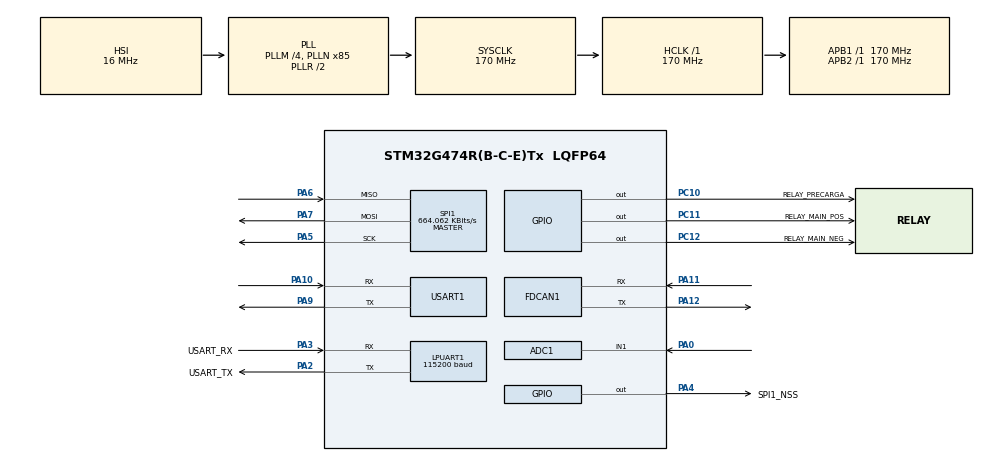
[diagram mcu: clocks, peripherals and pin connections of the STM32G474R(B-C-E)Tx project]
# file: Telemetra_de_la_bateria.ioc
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ADC1.Channel-0\#ChannelRegularConversion=ADC_CHANNEL_1
ADC1.NbrOfConversionFlag=1
ADC1.OffsetNumber-0\#ChannelRegularConversion=ADC_OFFSET_NONE
ADC1.Rank-0\#ChannelRegularConversion=1
ADC1.SamplingTime-0\#ChannelRegularConversion=ADC_SAMPLETIME_2CYCLES_5
ADC1.master=1
IWDG.Prescaler=IWDG_PRESCALER_32
LPUART1.BaudRate=115200
Mcu.Family=STM32G4
Mcu.Name=STM32G474R(B-C-E)Tx
Mcu.Package=LQFP64
NVIC.PriorityGroup=NVIC_PRIORITYGROUP_4
PA0.Mode=IN1-Single-Ended
PA0.Signal=ADC1_IN1
PA10.Mode=Asynchronous
PA10.Signal=USART1_RX
PA11.Mode=FDCAN_Activate
PA11.Signal=FDCAN1_RX
PA12.Mode=FDCAN_Activate
PA12.Signal=FDCAN1_TX
PA13.GPIO_Label=T_SWDIO
PA13.Signal=SYS_JTMS-SWDIO
PA14.GPIO_Label=T_SWCLK
PA14.Signal=SYS_JTCK-SWCLK
PA2.GPIO_Label=USART_TX
PA2.GPIO_Speed=GPIO_SPEED_FREQ_VERY_HIGH
PA2.Mode=Asynchronous
PA2.Signal=LPUART1_TX
PA3.GPIO_Label=USART_RX
PA3.GPIO_Speed=GPIO_SPEED_FREQ_VERY_HIGH
PA3.Mode=Asynchronous
PA3.Signal=LPUART1_RX
PA4.GPIO_Label=SPI1_NSS
PA4.GPIO_Speed=GPIO_SPEED_FREQ_VERY_HIGH
PA4.PinState=GPIO_PIN_RESET
PA4.Signal=GPIO_Output
PA5.GPIO_Speed=GPIO_SPEED_FREQ_VERY_HIGH
PA5.Mode=Full_Duplex_Master
PA5.Signal=SPI1_SCK
PA6.GPIO_Speed=GPIO_SPEED_FREQ_VERY_HIGH
PA6.Mode=Full_Duplex_Master
PA6.Signal=SPI1_MISO
PA7.GPIO_Speed=GPIO_SPEED_FREQ_VERY_HIGH
PA7.Mode=Full_Duplex_Master
PA7.Signal=SPI1_MOSI
PA9.Mode=Asynchronous
PA9.Signal=USART1_TX
PB3.GPIO_Label=T_SWO
PB3.Signal=SYS_JTDO-SWO
PC10.GPIO_Label=RELAY_PRECARGA
PC10.Signal=GPIO_Output
PC11.GPIO_Label=RELAY_MAIN_POS
PC11.Signal=GPIO_Output
PC12.GPIO_Label=RELAY_MAIN_NEG
PC12.Signal=GPIO_Output
PC14-OSC32_IN.GPIO_Label=RCC_OSC32_IN
PC14-OSC32_IN.Signal=RCC_OSC32_IN
PC15-OSC32_OUT.GPIO_Label=RCC_OSC32_OUT
PC15-OSC32_OUT.Signal=RCC_OSC32_OUT
PF0-OSC_IN.GPIO_Label=RCC_OSC_IN
PF0-OSC_IN.Mode=HSE-External-Oscillator
PF0-OSC_IN.Signal=RCC_OSC_IN
PF1-OSC_OUT.GPIO_Label=RCC_OSC_OUT
PF1-OSC_OUT.Mode=HSE-External-Oscillator
PF1-OSC_OUT.Signal=RCC_OSC_OUT
ProjectManager.HeapSize=0x200
ProjectManager.StackSize=0x400
ProjectManager.TargetToolchain=STM32CubeIDE
RCC.ADC12Freq_Value=170000000
RCC.ADC345Freq_Value=170000000
RCC.AHBFreq_Value=170000000
RCC.APB1Freq_Value=170000000
RCC.APB1TimFreq_Value=170000000
RCC.APB2Freq_Value=170000000
RCC.APB2TimFreq_Value=170000000
RCC.CortexFreq_Value=170000000
RCC.EXTERNAL_CLOCK_VALUE=12288000
RCC.HCLKFreq_Value=170000000
RCC.HSE_VALUE=24000000
RCC.HSI48_VALUE=48000000
RCC.HSI_VALUE=16000000
RCC.LSE_VALUE=32768
RCC.PLLM=RCC_PLLM_DIV4
RCC.PLLN=85
RCC.RTCClockSelection=RCC_RTCCLKSOURCE_LSE
RCC.SYSCLKFreq_VALUE=170000000
RCC.SYSCLKSource=RCC_SYSCLKSOURCE_PLLCLK
RCC.USBFreq_Value=170000000
RCC.VCOOutputFreq_Value=340000000
SPI1.BaudRatePrescaler=SPI_BAUDRATEPRESCALER_256
SPI1.CLKPhase=SPI_PHASE_2EDGE
SPI1.CLKPolarity=SPI_POLARITY_HIGH
SPI1.CalculateBaudRate=664.062 KBits/s
SPI1.DataSize=SPI_DATASIZE_8BIT
SPI1.Direction=SPI_DIRECTION_2LINES
SPI1.Mode=SPI_MODE_MASTER
SPI1.VirtualType=VM_MASTER
USART1.VirtualMode-Asynchronous=VM_ASYNC
USART1.VirtualMode-Hardware\ Flow\ Control\ (RS485)=VM_ASYNC
VP_IWDG_VS_IWDG.Mode=IWDG_Activate
VP_SYS_VS_DBSignals.Mode=DisableDeadBatterySignals
board=NUCLEO-G474RE

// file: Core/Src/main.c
/* USER CODE BEGIN Header */
/**
  ******************************************************************************
  * @file           : main.c
  * @brief          : Main program body
  ******************************************************************************
  * @attention
  *
  * Copyright (c) 2026 STMicroelectronics.
  * All rights reserved.
  *
  * This software is licensed under terms that can be found in the LICENSE file
  * in the root directory of this software component.
  * If no LICENSE file comes with this software, it is provided AS-IS.
  *
  ******************************************************************************
  */
/* USER CODE END Header */
#include "main.h"

/* USER CODE BEGIN Includes */
#include "ad7124_console_app.h"
#include <stdio.h>
/* USER CODE END Includes */

ADC_HandleTypeDef hadc1;

FDCAN_HandleTypeDef hfdcan1;

IWDG_HandleTypeDef hiwdg;

UART_HandleTypeDef hlpuart1;
UART_HandleTypeDef huart1;

SPI_HandleTypeDef hspi1;
static struct ad7124_st_reg ad7124_register_map[AD7124_REG_NO];
static struct ad7124_dev * pAd7124_dev = NULL;

void SystemClock_Config(void);
static void MX_GPIO_Init(void);
static void MX_LPUART1_UART_Init(void);
static void MX_SPI1_Init(void);
static void MX_ADC1_Init(void);
static void MX_FDCAN1_Init(void);
static void MX_IWDG_Init(void);
static void MX_USART1_UART_Init(void);

int main(void)
{

  /* MCU Configuration--------------------------------------------------------*/

  /* Reset of all peripherals, Initializes the Flash interface and the Systick. */
  HAL_Init();

  /* Configure the system clock */
  SystemClock_Config();

  /* Initialize all configured peripherals */
  MX_GPIO_Init();
  MX_LPUART1_UART_Init();
  MX_SPI1_Init();
  MX_ADC1_Init();
  MX_FDCAN1_Init();
  MX_IWDG_Init();
  MX_USART1_UART_Init();
  /* USER CODE BEGIN 2 */
  HAL_GPIO_WritePin(SPI1_NSS_GPIO_Port, SPI1_NSS_Pin, GPIO_PIN_SET);

  /* USER CODE BEGIN 2 */

    /* Arrancar la línea FDCAN hacia la red del coche */
    HAL_FDCAN_Start(&hfdcan1);

    /* Inicializa la aplicación del AD7124. */
    if (ad7124_app_initialize(AD7124_CONFIG_C) < 0) {
        /* Si falla, no refrescamos Watchdog y la placa se reiniciará sola */
        while (1) {
            /* HAL_GPIO_TogglePin(LED_GPIO_Port, LED_Pin); ya no tienes este pin etiquetado,
               así que un retardo simple servirá. */
            HAL_Delay(200);
        }
    }
  /* USER CODE END 2 */

  /* Infinite loop */
  while (1)
  {

    /* USER CODE BEGIN 3 */
	    /* display the console menu for the AD7124 application */
	   // adi_do_console_menu(&ad7124_main_menu);
	  /* Lazo principal de telemetría automática y seguridad */

	  int32_t ret;
	  uint32_t id_chip = 0;

	  // Leer el registro ID (dirección 0x05) del chip
	  ret = ad7124_read_register(pAd7124_dev, &ad7124_register_map[AD7124_ID]);
	  if (ret < 0) {
	      printf("ERROR: Fallo en la lectura SPI del ID.\r\n");
	  } else {
	      id_chip = ad7124_register_map[AD7124_ID].value;

	      printf("\r\n--- TEST DE VIDA SPI ---\r\n");
	      printf("ID del Chip Leido: 0x%02lX\r\n", id_chip);
	      if (id_chip == 0x16 || id_chip == 0x14) {
	          printf("ESTADO: SPI PERFECTO. El chip esta vivo.\r\n");
	      } else {
	          printf("ESTADO: ID desconocido. Revisa conexiones.\r\n");
	      }
	      printf("------------------------\r\n");
	  }

	        ad7124_run_automated_telemetry();

	    /* USER CODE BEGIN 3 */

  }
  /* USER CODE END 3 */
}

void SystemClock_Config(void)
{
  RCC_OscInitTypeDef RCC_OscInitStruct = {0};
  RCC_ClkInitTypeDef RCC_ClkInitStruct = {0};

  /** Configure the main internal regulator output voltage
  */
  HAL_PWREx_ControlVoltageScaling(PWR_REGULATOR_VOLTAGE_SCALE1_BOOST);

  /** Initializes the RCC Oscillators according to the specified parameters
  * in the RCC_OscInitTypeDef structure.
  */
  RCC_OscInitStruct.OscillatorType = RCC_OSCILLATORTYPE_HSI|RCC_OSCILLATORTYPE_LSI;
  RCC_OscInitStruct.HSIState = RCC_HSI_ON;
  RCC_OscInitStruct.HSICalibrationValue = RCC_HSICALIBRATION_DEFAULT;
  RCC_OscInitStruct.LSIState = RCC_LSI_ON;
  RCC_OscInitStruct.PLL.PLLState = RCC_PLL_ON;
  RCC_OscInitStruct.PLL.PLLSource = RCC_PLLSOURCE_HSI;
  RCC_OscInitStruct.PLL.PLLM = RCC_PLLM_DIV4;
  RCC_OscInitStruct.PLL.PLLN = 85;
  RCC_OscInitStruct.PLL.PLLP = RCC_PLLP_DIV2;
  RCC_OscInitStruct.PLL.PLLQ = RCC_PLLQ_DIV2;
  RCC_OscInitStruct.PLL.PLLR = RCC_PLLR_DIV2;
  if (HAL_RCC_OscConfig(&RCC_OscInitStruct) != HAL_OK)
  {
    Error_Handler();
  }

  /** Initializes the CPU, AHB and APB buses clocks
  */
  RCC_ClkInitStruct.ClockType = RCC_CLOCKTYPE_HCLK|RCC_CLOCKTYPE_SYSCLK
                              |RCC_CLOCKTYPE_PCLK1|RCC_CLOCKTYPE_PCLK2;
  RCC_ClkInitStruct.SYSCLKSource = RCC_SYSCLKSOURCE_PLLCLK;
  RCC_ClkInitStruct.AHBCLKDivider = RCC_SYSCLK_DIV1;
  RCC_ClkInitStruct.APB1CLKDivider = RCC_HCLK_DIV1;
  RCC_ClkInitStruct.APB2CLKDivider = RCC_HCLK_DIV1;

  if (HAL_RCC_ClockConfig(&RCC_ClkInitStruct, FLASH_LATENCY_4) != HAL_OK)
  {
    Error_Handler();
  }
}

static void MX_ADC1_Init(void)
{

  ADC_MultiModeTypeDef multimode = {0};
  ADC_ChannelConfTypeDef sConfig = {0};

  /** Common config
  */
  hadc1.Instance = ADC1;
  hadc1.Init.ClockPrescaler = ADC_CLOCK_SYNC_PCLK_DIV4;
  hadc1.Init.Resolution = ADC_RESOLUTION_12B;
  hadc1.Init.DataAlign = ADC_DATAALIGN_RIGHT;
  hadc1.Init.GainCompensation = 0;
  hadc1.Init.ScanConvMode = ADC_SCAN_DISABLE;
  hadc1.Init.EOCSelection = ADC_EOC_SINGLE_CONV;
  hadc1.Init.LowPowerAutoWait = DISABLE;
  hadc1.Init.ContinuousConvMode = DISABLE;
  hadc1.Init.NbrOfConversion = 1;
  hadc1.Init.DiscontinuousConvMode = DISABLE;
  hadc1.Init.ExternalTrigConv = ADC_SOFTWARE_START;
  hadc1.Init.ExternalTrigConvEdge = ADC_EXTERNALTRIGCONVEDGE_NONE;
  hadc1.Init.DMAContinuousRequests = DISABLE;
  hadc1.Init.Overrun = ADC_OVR_DATA_PRESERVED;
  hadc1.Init.OversamplingMode = DISABLE;
  if (HAL_ADC_Init(&hadc1) != HAL_OK)
  {
    Error_Handler();
  }

  /** Configure the ADC multi-mode
  */
  multimode.Mode = ADC_MODE_INDEPENDENT;
  if (HAL_ADCEx_MultiModeConfigChannel(&hadc1, &multimode) != HAL_OK)
  {
    Error_Handler();
  }

  /** Configure Regular Channel
  */
  sConfig.Channel = ADC_CHANNEL_1;
  sConfig.Rank = ADC_REGULAR_RANK_1;
  sConfig.SamplingTime = ADC_SAMPLETIME_2CYCLES_5;
  sConfig.SingleDiff = ADC_SINGLE_ENDED;
  sConfig.OffsetNumber = ADC_OFFSET_NONE;
  sConfig.Offset = 0;
  if (HAL_ADC_ConfigChannel(&hadc1, &sConfig) != HAL_OK)
  {
    Error_Handler();
  }

}

static void MX_FDCAN1_Init(void)
{

  hfdcan1.Instance = FDCAN1;
  hfdcan1.Init.ClockDivider = FDCAN_CLOCK_DIV1;
  hfdcan1.Init.FrameFormat = FDCAN_FRAME_CLASSIC;
  hfdcan1.Init.Mode = FDCAN_MODE_NORMAL;
  hfdcan1.Init.AutoRetransmission = DISABLE;
  hfdcan1.Init.TransmitPause = DISABLE;
  hfdcan1.Init.ProtocolException = DISABLE;
  hfdcan1.Init.NominalPrescaler = 16;
  hfdcan1.Init.NominalSyncJumpWidth = 1;
  hfdcan1.Init.NominalTimeSeg1 = 1;
  hfdcan1.Init.NominalTimeSeg2 = 1;
  hfdcan1.Init.DataPrescaler = 1;
  hfdcan1.Init.DataSyncJumpWidth = 1;
  hfdcan1.Init.DataTimeSeg1 = 1;
  hfdcan1.Init.DataTimeSeg2 = 1;
  hfdcan1.Init.StdFiltersNbr = 0;
  hfdcan1.Init.ExtFiltersNbr = 0;
  hfdcan1.Init.TxFifoQueueMode = FDCAN_TX_FIFO_OPERATION;
  if (HAL_FDCAN_Init(&hfdcan1) != HAL_OK)
  {
    Error_Handler();
  }

}

static void MX_IWDG_Init(void)
{

  hiwdg.Instance = IWDG;
  hiwdg.Init.Prescaler = IWDG_PRESCALER_32;
  hiwdg.Init.Window = 4095;
  hiwdg.Init.Reload = 4095;
  if (HAL_IWDG_Init(&hiwdg) != HAL_OK)
  {
    Error_Handler();
  }

}

static void MX_LPUART1_UART_Init(void)
{

  hlpuart1.Instance = LPUART1;
  hlpuart1.Init.BaudRate = 115200;
  hlpuart1.Init.WordLength = UART_WORDLENGTH_8B;
  hlpuart1.Init.StopBits = UART_STOPBITS_1;
  hlpuart1.Init.Parity = UART_PARITY_NONE;
  hlpuart1.Init.Mode = UART_MODE_TX_RX;
  hlpuart1.Init.HwFlowCtl = UART_HWCONTROL_NONE;
  hlpuart1.Init.OneBitSampling = UART_ONE_BIT_SAMPLE_DISABLE;
  hlpuart1.Init.ClockPrescaler = UART_PRESCALER_DIV1;
  hlpuart1.AdvancedInit.AdvFeatureInit = UART_ADVFEATURE_NO_INIT;
  if (HAL_UART_Init(&hlpuart1) != HAL_OK)
  {
    Error_Handler();
  }
  if (HAL_UARTEx_SetTxFifoThreshold(&hlpuart1, UART_TXFIFO_THRESHOLD_1_8) != HAL_OK)
  {
    Error_Handler();
  }
  if (HAL_UARTEx_SetRxFifoThreshold(&hlpuart1, UART_RXFIFO_THRESHOLD_1_8) != HAL_OK)
  {
    Error_Handler();
  }
  if (HAL_UARTEx_DisableFifoMode(&hlpuart1) != HAL_OK)
  {
    Error_Handler();
  }

}

static void MX_USART1_UART_Init(void)
{

  huart1.Instance = USART1;
  huart1.Init.BaudRate = 115200;
  huart1.Init.WordLength = UART_WORDLENGTH_8B;
  huart1.Init.StopBits = UART_STOPBITS_1;
  huart1.Init.Parity = UART_PARITY_NONE;
  huart1.Init.Mode = UART_MODE_TX_RX;
  huart1.Init.HwFlowCtl = UART_HWCONTROL_NONE;
  huart1.Init.OverSampling = UART_OVERSAMPLING_16;
  huart1.Init.OneBitSampling = UART_ONE_BIT_SAMPLE_DISABLE;
  huart1.Init.ClockPrescaler = UART_PRESCALER_DIV1;
  huart1.AdvancedInit.AdvFeatureInit = UART_ADVFEATURE_NO_INIT;
  if (HAL_UART_Init(&huart1) != HAL_OK)
  {
    Error_Handler();
  }
  if (HAL_UARTEx_SetTxFifoThreshold(&huart1, UART_TXFIFO_THRESHOLD_1_8) != HAL_OK)
  {
    Error_Handler();
  }
  if (HAL_UARTEx_SetRxFifoThreshold(&huart1, UART_RXFIFO_THRESHOLD_1_8) != HAL_OK)
  {
    Error_Handler();
  }
  if (HAL_UARTEx_DisableFifoMode(&huart1) != HAL_OK)
  {
    Error_Handler();
  }

}

static void MX_SPI1_Init(void)
{

  /* SPI1 parameter configuration*/
  hspi1.Instance = SPI1;
  hspi1.Init.Mode = SPI_MODE_MASTER;
  hspi1.Init.Direction = SPI_DIRECTION_2LINES;
  hspi1.Init.DataSize = SPI_DATASIZE_8BIT;
  hspi1.Init.CLKPolarity = SPI_POLARITY_HIGH;
  hspi1.Init.CLKPhase = SPI_PHASE_2EDGE;
  hspi1.Init.NSS = SPI_NSS_SOFT;
  hspi1.Init.BaudRatePrescaler = SPI_BAUDRATEPRESCALER_256;
  hspi1.Init.FirstBit = SPI_FIRSTBIT_MSB;
  hspi1.Init.TIMode = SPI_TIMODE_DISABLE;
  hspi1.Init.CRCCalculation = SPI_CRCCALCULATION_DISABLE;
  hspi1.Init.CRCPolynomial = 7;
  hspi1.Init.CRCLength = SPI_CRC_LENGTH_DATASIZE;
  hspi1.Init.NSSPMode = SPI_NSS_PULSE_DISABLE;
  if (HAL_SPI_Init(&hspi1) != HAL_OK)
  {
    Error_Handler();
  }

}

static void MX_GPIO_Init(void)
{
  GPIO_InitTypeDef GPIO_InitStruct = {0};

  /* GPIO Ports Clock Enable */
  __HAL_RCC_GPIOC_CLK_ENABLE();
  __HAL_RCC_GPIOF_CLK_ENABLE();
  __HAL_RCC_GPIOA_CLK_ENABLE();
  __HAL_RCC_GPIOB_CLK_ENABLE();

  /*Configure GPIO pin Output Level */
  HAL_GPIO_WritePin(SPI1_NSS_GPIO_Port, SPI1_NSS_Pin, GPIO_PIN_RESET);

  /*Configure GPIO pin Output Level */
  HAL_GPIO_WritePin(GPIOC, RELAY_PRECARGA_Pin|RELAY_MAIN_POS_Pin|RELAY_MAIN_NEG_Pin, GPIO_PIN_RESET);

  /*Configure GPIO pin : SPI1_NSS_Pin */
  GPIO_InitStruct.Pin = SPI1_NSS_Pin;
  GPIO_InitStruct.Mode = GPIO_MODE_OUTPUT_PP;
  GPIO_InitStruct.Pull = GPIO_NOPULL;
  GPIO_InitStruct.Speed = GPIO_SPEED_FREQ_VERY_HIGH;
  HAL_GPIO_Init(SPI1_NSS_GPIO_Port, &GPIO_InitStruct);

  /*Configure GPIO pins : RELAY_PRECARGA_Pin RELAY_MAIN_POS_Pin RELAY_MAIN_NEG_Pin */
  GPIO_InitStruct.Pin = RELAY_PRECARGA_Pin|RELAY_MAIN_POS_Pin|RELAY_MAIN_NEG_Pin;
  GPIO_InitStruct.Mode = GPIO_MODE_OUTPUT_PP;
  GPIO_InitStruct.Pull = GPIO_NOPULL;
  GPIO_InitStruct.Speed = GPIO_SPEED_FREQ_LOW;
  HAL_GPIO_Init(GPIOC, &GPIO_InitStruct);

}

void Error_Handler(void)
{
  __disable_irq();
  while (1)
  {
  }
}
